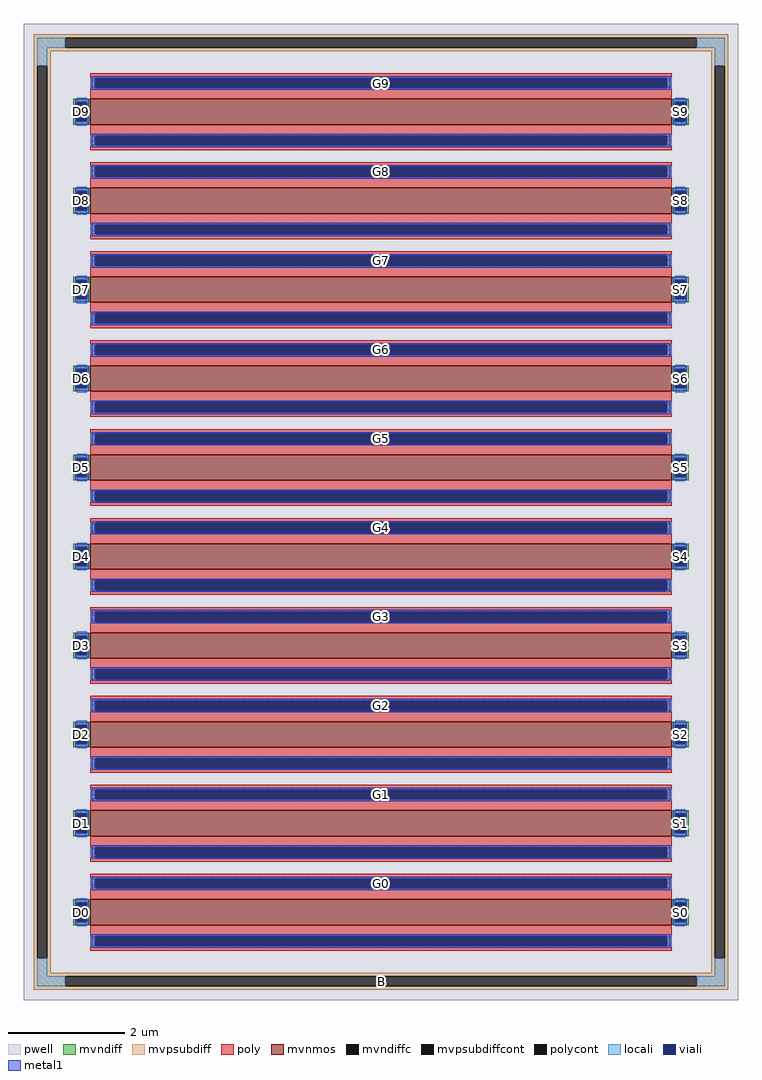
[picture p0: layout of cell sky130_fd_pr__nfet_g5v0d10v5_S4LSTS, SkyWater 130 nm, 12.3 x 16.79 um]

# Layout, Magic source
magic
tech sky130A
magscale 1 2
<< pwell >>
rect -1230 -1679 1230 1679
<< mvnmos >>
rect -1000 1333 1000 1421
rect -1000 1027 1000 1115
rect -1000 721 1000 809
rect -1000 415 1000 503
rect -1000 109 1000 197
rect -1000 -197 1000 -109
rect -1000 -503 1000 -415
rect -1000 -809 1000 -721
rect -1000 -1115 1000 -1027
rect -1000 -1421 1000 -1333
<< mvndiff >>
rect -1058 1409 -1000 1421
rect -1058 1345 -1046 1409
rect -1012 1345 -1000 1409
rect -1058 1333 -1000 1345
rect 1000 1409 1058 1421
rect 1000 1345 1012 1409
rect 1046 1345 1058 1409
rect 1000 1333 1058 1345
rect -1058 1103 -1000 1115
rect -1058 1039 -1046 1103
rect -1012 1039 -1000 1103
rect -1058 1027 -1000 1039
rect 1000 1103 1058 1115
rect 1000 1039 1012 1103
rect 1046 1039 1058 1103
rect 1000 1027 1058 1039
rect -1058 797 -1000 809
rect -1058 733 -1046 797
rect -1012 733 -1000 797
rect -1058 721 -1000 733
rect 1000 797 1058 809
rect 1000 733 1012 797
rect 1046 733 1058 797
rect 1000 721 1058 733
rect -1058 491 -1000 503
rect -1058 427 -1046 491
rect -1012 427 -1000 491
rect -1058 415 -1000 427
rect 1000 491 1058 503
rect 1000 427 1012 491
rect 1046 427 1058 491
rect 1000 415 1058 427
rect -1058 185 -1000 197
rect -1058 121 -1046 185
rect -1012 121 -1000 185
rect -1058 109 -1000 121
rect 1000 185 1058 197
rect 1000 121 1012 185
rect 1046 121 1058 185
rect 1000 109 1058 121
rect -1058 -121 -1000 -109
rect -1058 -185 -1046 -121
rect -1012 -185 -1000 -121
rect -1058 -197 -1000 -185
rect 1000 -121 1058 -109
rect 1000 -185 1012 -121
rect 1046 -185 1058 -121
rect 1000 -197 1058 -185
rect -1058 -427 -1000 -415
rect -1058 -491 -1046 -427
rect -1012 -491 -1000 -427
rect -1058 -503 -1000 -491
rect 1000 -427 1058 -415
rect 1000 -491 1012 -427
rect 1046 -491 1058 -427
rect 1000 -503 1058 -491
rect -1058 -733 -1000 -721
rect -1058 -797 -1046 -733
rect -1012 -797 -1000 -733
rect -1058 -809 -1000 -797
rect 1000 -733 1058 -721
rect 1000 -797 1012 -733
rect 1046 -797 1058 -733
rect 1000 -809 1058 -797
rect -1058 -1039 -1000 -1027
rect -1058 -1103 -1046 -1039
rect -1012 -1103 -1000 -1039
rect -1058 -1115 -1000 -1103
rect 1000 -1039 1058 -1027
rect 1000 -1103 1012 -1039
rect 1046 -1103 1058 -1039
rect 1000 -1115 1058 -1103
rect -1058 -1345 -1000 -1333
rect -1058 -1409 -1046 -1345
rect -1012 -1409 -1000 -1345
rect -1058 -1421 -1000 -1409
rect 1000 -1345 1058 -1333
rect 1000 -1409 1012 -1345
rect 1046 -1409 1058 -1345
rect 1000 -1421 1058 -1409
<< mvndiffc >>
rect -1046 1345 -1012 1409
rect 1012 1345 1046 1409
rect -1046 1039 -1012 1103
rect 1012 1039 1046 1103
rect -1046 733 -1012 797
rect 1012 733 1046 797
rect -1046 427 -1012 491
rect 1012 427 1046 491
rect -1046 121 -1012 185
rect 1012 121 1046 185
rect -1046 -185 -1012 -121
rect 1012 -185 1046 -121
rect -1046 -491 -1012 -427
rect 1012 -491 1046 -427
rect -1046 -797 -1012 -733
rect 1012 -797 1046 -733
rect -1046 -1103 -1012 -1039
rect 1012 -1103 1046 -1039
rect -1046 -1409 -1012 -1345
rect 1012 -1409 1046 -1345
<< mvpsubdiff >>
rect -1194 1631 1194 1643
rect -1194 1597 -1086 1631
rect 1086 1597 1194 1631
rect -1194 1585 1194 1597
rect -1194 1535 -1136 1585
rect -1194 -1535 -1182 1535
rect -1148 -1535 -1136 1535
rect 1136 1535 1194 1585
rect -1194 -1585 -1136 -1535
rect 1136 -1535 1148 1535
rect 1182 -1535 1194 1535
rect 1136 -1585 1194 -1535
rect -1194 -1597 1194 -1585
rect -1194 -1631 -1086 -1597
rect 1086 -1631 1194 -1597
rect -1194 -1643 1194 -1631
<< mvpsubdiffcont >>
rect -1086 1597 1086 1631
rect -1182 -1535 -1148 1535
rect 1148 -1535 1182 1535
rect -1086 -1631 1086 -1597
<< poly >>
rect -1000 1493 1000 1509
rect -1000 1459 -984 1493
rect 984 1459 1000 1493
rect -1000 1421 1000 1459
rect -1000 1295 1000 1333
rect -1000 1261 -984 1295
rect 984 1261 1000 1295
rect -1000 1245 1000 1261
rect -1000 1187 1000 1203
rect -1000 1153 -984 1187
rect 984 1153 1000 1187
rect -1000 1115 1000 1153
rect -1000 989 1000 1027
rect -1000 955 -984 989
rect 984 955 1000 989
rect -1000 939 1000 955
rect -1000 881 1000 897
rect -1000 847 -984 881
rect 984 847 1000 881
rect -1000 809 1000 847
rect -1000 683 1000 721
rect -1000 649 -984 683
rect 984 649 1000 683
rect -1000 633 1000 649
rect -1000 575 1000 591
rect -1000 541 -984 575
rect 984 541 1000 575
rect -1000 503 1000 541
rect -1000 377 1000 415
rect -1000 343 -984 377
rect 984 343 1000 377
rect -1000 327 1000 343
rect -1000 269 1000 285
rect -1000 235 -984 269
rect 984 235 1000 269
rect -1000 197 1000 235
rect -1000 71 1000 109
rect -1000 37 -984 71
rect 984 37 1000 71
rect -1000 21 1000 37
rect -1000 -37 1000 -21
rect -1000 -71 -984 -37
rect 984 -71 1000 -37
rect -1000 -109 1000 -71
rect -1000 -235 1000 -197
rect -1000 -269 -984 -235
rect 984 -269 1000 -235
rect -1000 -285 1000 -269
rect -1000 -343 1000 -327
rect -1000 -377 -984 -343
rect 984 -377 1000 -343
rect -1000 -415 1000 -377
rect -1000 -541 1000 -503
rect -1000 -575 -984 -541
rect 984 -575 1000 -541
rect -1000 -591 1000 -575
rect -1000 -649 1000 -633
rect -1000 -683 -984 -649
rect 984 -683 1000 -649
rect -1000 -721 1000 -683
rect -1000 -847 1000 -809
rect -1000 -881 -984 -847
rect 984 -881 1000 -847
rect -1000 -897 1000 -881
rect -1000 -955 1000 -939
rect -1000 -989 -984 -955
rect 984 -989 1000 -955
rect -1000 -1027 1000 -989
rect -1000 -1153 1000 -1115
rect -1000 -1187 -984 -1153
rect 984 -1187 1000 -1153
rect -1000 -1203 1000 -1187
rect -1000 -1261 1000 -1245
rect -1000 -1295 -984 -1261
rect 984 -1295 1000 -1261
rect -1000 -1333 1000 -1295
rect -1000 -1459 1000 -1421
rect -1000 -1493 -984 -1459
rect 984 -1493 1000 -1459
rect -1000 -1509 1000 -1493
<< polycont >>
rect -984 1459 984 1493
rect -984 1261 984 1295
rect -984 1153 984 1187
rect -984 955 984 989
rect -984 847 984 881
rect -984 649 984 683
rect -984 541 984 575
rect -984 343 984 377
rect -984 235 984 269
rect -984 37 984 71
rect -984 -71 984 -37
rect -984 -269 984 -235
rect -984 -377 984 -343
rect -984 -575 984 -541
rect -984 -683 984 -649
rect -984 -881 984 -847
rect -984 -989 984 -955
rect -984 -1187 984 -1153
rect -984 -1295 984 -1261
rect -984 -1493 984 -1459
<< locali >>
rect -1182 1597 -1086 1631
rect 1086 1597 1182 1631
rect -1182 1535 -1148 1597
rect 1148 1535 1182 1597
rect -1000 1459 -984 1493
rect 984 1459 1000 1493
rect -1046 1409 -1012 1425
rect -1046 1329 -1012 1345
rect 1012 1409 1046 1425
rect 1012 1329 1046 1345
rect -1000 1261 -984 1295
rect 984 1261 1000 1295
rect -1000 1153 -984 1187
rect 984 1153 1000 1187
rect -1046 1103 -1012 1119
rect -1046 1023 -1012 1039
rect 1012 1103 1046 1119
rect 1012 1023 1046 1039
rect -1000 955 -984 989
rect 984 955 1000 989
rect -1000 847 -984 881
rect 984 847 1000 881
rect -1046 797 -1012 813
rect -1046 717 -1012 733
rect 1012 797 1046 813
rect 1012 717 1046 733
rect -1000 649 -984 683
rect 984 649 1000 683
rect -1000 541 -984 575
rect 984 541 1000 575
rect -1046 491 -1012 507
rect -1046 411 -1012 427
rect 1012 491 1046 507
rect 1012 411 1046 427
rect -1000 343 -984 377
rect 984 343 1000 377
rect -1000 235 -984 269
rect 984 235 1000 269
rect -1046 185 -1012 201
rect -1046 105 -1012 121
rect 1012 185 1046 201
rect 1012 105 1046 121
rect -1000 37 -984 71
rect 984 37 1000 71
rect -1000 -71 -984 -37
rect 984 -71 1000 -37
rect -1046 -121 -1012 -105
rect -1046 -201 -1012 -185
rect 1012 -121 1046 -105
rect 1012 -201 1046 -185
rect -1000 -269 -984 -235
rect 984 -269 1000 -235
rect -1000 -377 -984 -343
rect 984 -377 1000 -343
rect -1046 -427 -1012 -411
rect -1046 -507 -1012 -491
rect 1012 -427 1046 -411
rect 1012 -507 1046 -491
rect -1000 -575 -984 -541
rect 984 -575 1000 -541
rect -1000 -683 -984 -649
rect 984 -683 1000 -649
rect -1046 -733 -1012 -717
rect -1046 -813 -1012 -797
rect 1012 -733 1046 -717
rect 1012 -813 1046 -797
rect -1000 -881 -984 -847
rect 984 -881 1000 -847
rect -1000 -989 -984 -955
rect 984 -989 1000 -955
rect -1046 -1039 -1012 -1023
rect -1046 -1119 -1012 -1103
rect 1012 -1039 1046 -1023
rect 1012 -1119 1046 -1103
rect -1000 -1187 -984 -1153
rect 984 -1187 1000 -1153
rect -1000 -1295 -984 -1261
rect 984 -1295 1000 -1261
rect -1046 -1345 -1012 -1329
rect -1046 -1425 -1012 -1409
rect 1012 -1345 1046 -1329
rect 1012 -1425 1046 -1409
rect -1000 -1493 -984 -1459
rect 984 -1493 1000 -1459
rect -1182 -1597 -1148 -1535
rect 1148 -1597 1182 -1535
rect -1182 -1631 -1086 -1597
rect 1086 -1631 1182 -1597
<< viali >>
rect -984 1459 984 1493
rect -1046 1345 -1012 1409
rect 1012 1345 1046 1409
rect -984 1261 984 1295
rect -984 1153 984 1187
rect -1046 1039 -1012 1103
rect 1012 1039 1046 1103
rect -984 955 984 989
rect -984 847 984 881
rect -1046 733 -1012 797
rect 1012 733 1046 797
rect -984 649 984 683
rect -984 541 984 575
rect -1046 427 -1012 491
rect 1012 427 1046 491
rect -984 343 984 377
rect -984 235 984 269
rect -1046 121 -1012 185
rect 1012 121 1046 185
rect -984 37 984 71
rect -984 -71 984 -37
rect -1046 -185 -1012 -121
rect 1012 -185 1046 -121
rect -984 -269 984 -235
rect -984 -377 984 -343
rect -1046 -491 -1012 -427
rect 1012 -491 1046 -427
rect -984 -575 984 -541
rect -984 -683 984 -649
rect -1046 -797 -1012 -733
rect 1012 -797 1046 -733
rect -984 -881 984 -847
rect -984 -989 984 -955
rect -1046 -1103 -1012 -1039
rect 1012 -1103 1046 -1039
rect -984 -1187 984 -1153
rect -984 -1295 984 -1261
rect -1046 -1409 -1012 -1345
rect 1012 -1409 1046 -1345
rect -984 -1493 984 -1459
<< metal1 >>
rect -996 1493 996 1499
rect -996 1459 -984 1493
rect 984 1459 996 1493
rect -996 1453 996 1459
rect -1052 1409 -1006 1421
rect -1052 1345 -1046 1409
rect -1012 1345 -1006 1409
rect -1052 1333 -1006 1345
rect 1006 1409 1052 1421
rect 1006 1345 1012 1409
rect 1046 1345 1052 1409
rect 1006 1333 1052 1345
rect -996 1295 996 1301
rect -996 1261 -984 1295
rect 984 1261 996 1295
rect -996 1255 996 1261
rect -996 1187 996 1193
rect -996 1153 -984 1187
rect 984 1153 996 1187
rect -996 1147 996 1153
rect -1052 1103 -1006 1115
rect -1052 1039 -1046 1103
rect -1012 1039 -1006 1103
rect -1052 1027 -1006 1039
rect 1006 1103 1052 1115
rect 1006 1039 1012 1103
rect 1046 1039 1052 1103
rect 1006 1027 1052 1039
rect -996 989 996 995
rect -996 955 -984 989
rect 984 955 996 989
rect -996 949 996 955
rect -996 881 996 887
rect -996 847 -984 881
rect 984 847 996 881
rect -996 841 996 847
rect -1052 797 -1006 809
rect -1052 733 -1046 797
rect -1012 733 -1006 797
rect -1052 721 -1006 733
rect 1006 797 1052 809
rect 1006 733 1012 797
rect 1046 733 1052 797
rect 1006 721 1052 733
rect -996 683 996 689
rect -996 649 -984 683
rect 984 649 996 683
rect -996 643 996 649
rect -996 575 996 581
rect -996 541 -984 575
rect 984 541 996 575
rect -996 535 996 541
rect -1052 491 -1006 503
rect -1052 427 -1046 491
rect -1012 427 -1006 491
rect -1052 415 -1006 427
rect 1006 491 1052 503
rect 1006 427 1012 491
rect 1046 427 1052 491
rect 1006 415 1052 427
rect -996 377 996 383
rect -996 343 -984 377
rect 984 343 996 377
rect -996 337 996 343
rect -996 269 996 275
rect -996 235 -984 269
rect 984 235 996 269
rect -996 229 996 235
rect -1052 185 -1006 197
rect -1052 121 -1046 185
rect -1012 121 -1006 185
rect -1052 109 -1006 121
rect 1006 185 1052 197
rect 1006 121 1012 185
rect 1046 121 1052 185
rect 1006 109 1052 121
rect -996 71 996 77
rect -996 37 -984 71
rect 984 37 996 71
rect -996 31 996 37
rect -996 -37 996 -31
rect -996 -71 -984 -37
rect 984 -71 996 -37
rect -996 -77 996 -71
rect -1052 -121 -1006 -109
rect -1052 -185 -1046 -121
rect -1012 -185 -1006 -121
rect -1052 -197 -1006 -185
rect 1006 -121 1052 -109
rect 1006 -185 1012 -121
rect 1046 -185 1052 -121
rect 1006 -197 1052 -185
rect -996 -235 996 -229
rect -996 -269 -984 -235
rect 984 -269 996 -235
rect -996 -275 996 -269
rect -996 -343 996 -337
rect -996 -377 -984 -343
rect 984 -377 996 -343
rect -996 -383 996 -377
rect -1052 -427 -1006 -415
rect -1052 -491 -1046 -427
rect -1012 -491 -1006 -427
rect -1052 -503 -1006 -491
rect 1006 -427 1052 -415
rect 1006 -491 1012 -427
rect 1046 -491 1052 -427
rect 1006 -503 1052 -491
rect -996 -541 996 -535
rect -996 -575 -984 -541
rect 984 -575 996 -541
rect -996 -581 996 -575
rect -996 -649 996 -643
rect -996 -683 -984 -649
rect 984 -683 996 -649
rect -996 -689 996 -683
rect -1052 -733 -1006 -721
rect -1052 -797 -1046 -733
rect -1012 -797 -1006 -733
rect -1052 -809 -1006 -797
rect 1006 -733 1052 -721
rect 1006 -797 1012 -733
rect 1046 -797 1052 -733
rect 1006 -809 1052 -797
rect -996 -847 996 -841
rect -996 -881 -984 -847
rect 984 -881 996 -847
rect -996 -887 996 -881
rect -996 -955 996 -949
rect -996 -989 -984 -955
rect 984 -989 996 -955
rect -996 -995 996 -989
rect -1052 -1039 -1006 -1027
rect -1052 -1103 -1046 -1039
rect -1012 -1103 -1006 -1039
rect -1052 -1115 -1006 -1103
rect 1006 -1039 1052 -1027
rect 1006 -1103 1012 -1039
rect 1046 -1103 1052 -1039
rect 1006 -1115 1052 -1103
rect -996 -1153 996 -1147
rect -996 -1187 -984 -1153
rect 984 -1187 996 -1153
rect -996 -1193 996 -1187
rect -996 -1261 996 -1255
rect -996 -1295 -984 -1261
rect 984 -1295 996 -1261
rect -996 -1301 996 -1295
rect -1052 -1345 -1006 -1333
rect -1052 -1409 -1046 -1345
rect -1012 -1409 -1006 -1345
rect -1052 -1421 -1006 -1409
rect 1006 -1345 1052 -1333
rect 1006 -1409 1012 -1345
rect 1046 -1409 1052 -1345
rect 1006 -1421 1052 -1409
rect -996 -1459 996 -1453
rect -996 -1493 -984 -1459
rect 984 -1493 996 -1459
rect -996 -1499 996 -1493
<< labels >>
rlabel mvpsubdiffcont 0 -1614 0 -1614 0 B
port 1 nsew
rlabel mvndiffc -1029 -1377 -1029 -1377 0 D0
port 2 nsew
rlabel mvndiffc 1029 -1377 1029 -1377 0 S0
port 3 nsew
rlabel polycont 0 -1278 0 -1278 0 G0
port 4 nsew
rlabel mvndiffc -1029 -1071 -1029 -1071 0 D1
port 5 nsew
rlabel mvndiffc 1029 -1071 1029 -1071 0 S1
port 6 nsew
rlabel polycont 0 -972 0 -972 0 G1
port 7 nsew
rlabel mvndiffc -1029 -765 -1029 -765 0 D2
port 8 nsew
rlabel mvndiffc 1029 -765 1029 -765 0 S2
port 9 nsew
rlabel polycont 0 -666 0 -666 0 G2
port 10 nsew
rlabel mvndiffc -1029 -459 -1029 -459 0 D3
port 11 nsew
rlabel mvndiffc 1029 -459 1029 -459 0 S3
port 12 nsew
rlabel polycont 0 -360 0 -360 0 G3
port 13 nsew
rlabel mvndiffc -1029 -153 -1029 -153 0 D4
port 14 nsew
rlabel mvndiffc 1029 -153 1029 -153 0 S4
port 15 nsew
rlabel polycont 0 -54 0 -54 0 G4
port 16 nsew
rlabel mvndiffc -1029 153 -1029 153 0 D5
port 17 nsew
rlabel mvndiffc 1029 153 1029 153 0 S5
port 18 nsew
rlabel polycont 0 252 0 252 0 G5
port 19 nsew
rlabel mvndiffc -1029 459 -1029 459 0 D6
port 20 nsew
rlabel mvndiffc 1029 459 1029 459 0 S6
port 21 nsew
rlabel polycont 0 558 0 558 0 G6
port 22 nsew
rlabel mvndiffc -1029 765 -1029 765 0 D7
port 23 nsew
rlabel mvndiffc 1029 765 1029 765 0 S7
port 24 nsew
rlabel polycont 0 864 0 864 0 G7
port 25 nsew
rlabel mvndiffc -1029 1071 -1029 1071 0 D8
port 26 nsew
rlabel mvndiffc 1029 1071 1029 1071 0 S8
port 27 nsew
rlabel polycont 0 1170 0 1170 0 G8
port 28 nsew
rlabel mvndiffc -1029 1377 -1029 1377 0 D9
port 29 nsew
rlabel mvndiffc 1029 1377 1029 1377 0 S9
port 30 nsew
rlabel polycont 0 1476 0 1476 0 G9
port 31 nsew
<< properties >>
string FIXED_BBOX -1165 -1614 1165 1614
string gencell sky130_fd_pr__nfet_g5v0d10v5
string library sky130
string parameters w .44 l 10 m 10 nf 1 diffcov 100 polycov 100 guard 1 glc 1 grc 1 gtc 1 gbc 1 tbcov 100 rlcov 100 topc 1 botc 1 poverlap 0 doverlap 1 lmin 0.50 wmin 0.42 class mosfet compatible {sky130_fd_pr__nfet_01v8 sky130_fd_pr__nfet_01v8_lvt  sky130_fd_bs_flash__special_sonosfet_star  sky130_fd_pr__nfet_g5v0d10v5 sky130_fd_pr__nfet_05v0_nvt  sky130_fd_pr__nfet_03v3_nvt} full_metal 1 conn_gates 0 viasrc 100 viadrn 100 viagate 100 viagb 0 viagr 0 viagl 0 viagt 0 doports 1
<< end >>
